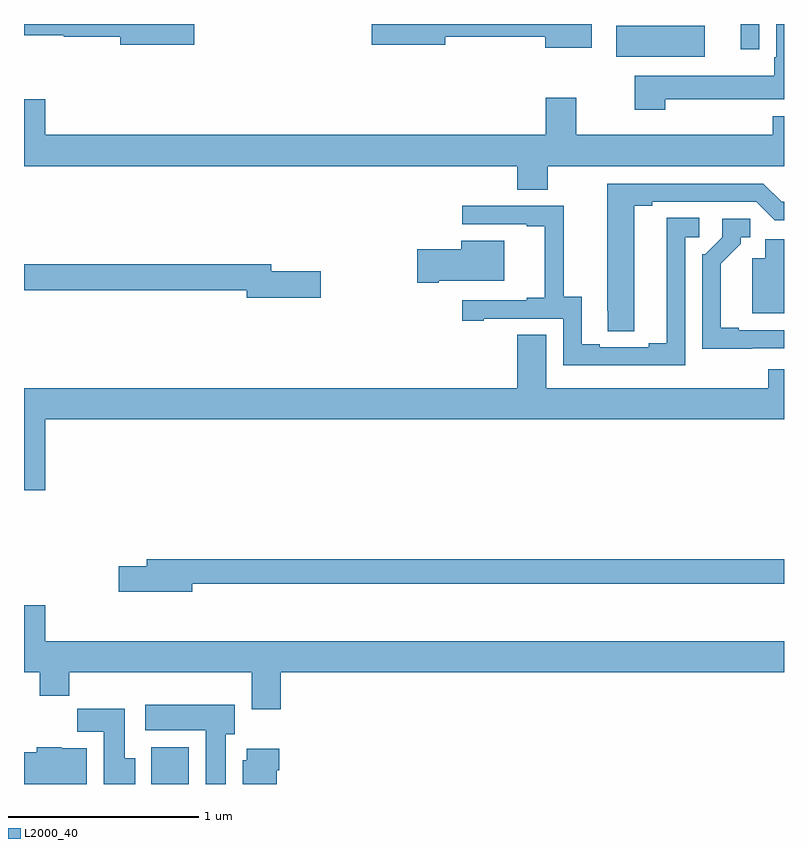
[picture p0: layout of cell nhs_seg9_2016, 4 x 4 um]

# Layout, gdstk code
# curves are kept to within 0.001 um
import gdstk
lib = gdstk.Library(unit=1e-6, precision=1e-09)
def R(c, l, rs):  # rectangles x0, y0, x1, y1
    for r in rs: c.add(gdstk.rectangle(r[:2], r[2:], *l))
def P(c, l, *ps):  # polygons
    for p in ps: c.add(gdstk.Polygon(p, *l))
L2000_40 = (2000, 40)

nhs_seg9_2016 = lib.new_cell('nhs_seg9_2016')
R(nhs_seg9_2016, L2000_40, [(225.671,1194.5,225.868,1194.694), (228.117,1198.328,228.583,1198.492), (228.773,1198.368,228.87,1198.5)])
P(nhs_seg9_2016, L2000_40, [(227.989,1198.5),(226.83,1198.5),(226.83,1198.39),(227.218,1198.39),(227.218,1198.432),(227.744,1198.432),(227.744,1198.376),(227.989,1198.376)],
  [(228.374,1198.103),(229,1198.103),(229,1198.5),(228.96,1198.5),(228.96,1198.324),(228.948,1198.324),(228.948,1198.228),(228.214,1198.228),(228.214,1198.05),(228.374,1198.05)],
  [(225.895,1198.5),(225,1198.5),(225,1198.44),(225.21,1198.44),(225.21,1198.432),(225.506,1198.432),(225.506,1198.39),(225.895,1198.39)],
  [(227.747,1197.916),(225.112,1197.916),(225.112,1198.105),(225,1198.105),(225,1197.752),(227.597,1197.752),(227.597,1197.628),(227.757,1197.628),(227.757,1197.752),(229,1197.752),(229,1198.015),(228.941,1198.015),(228.941,1197.916),(227.907,1197.916),(227.907,1198.111),(227.747,1198.111)],
  [(228.211,1197.544),(228.307,1197.544),(228.307,1197.564),(228.855,1197.564),(228.951,1197.468),(229,1197.468),(229,1197.564),(228.987,1197.564),(228.891,1197.66),(228.071,1197.66),(228.072,1196.884),(228.211,1196.884)],
  [(228.48,1197.378),(228.553,1197.378),(228.553,1197.479),(228.383,1197.479),(228.383,1196.819),(228.287,1196.819),(228.287,1196.799),(228.031,1196.799),(228.031,1196.814),(227.935,1196.814),(227.935,1197.065),(227.841,1197.065),(227.841,1197.543),(227.307,1197.543),(227.307,1197.447),(227.645,1197.447),(227.645,1197.435),(227.741,1197.435),(227.741,1197.058),(227.645,1197.058),(227.645,1197.045),(227.307,1197.045),(227.307,1196.937),(227.419,1196.937),(227.419,1196.949),(227.838,1196.949),(227.838,1196.703),(228.48,1196.703)],
  [(228.833,1196.793),(229,1196.793),(229,1196.889),(228.763,1196.889),(228.763,1196.902),(228.667,1196.902),(228.667,1197.238),(228.772,1197.343),(228.772,1197.378),(228.822,1197.378),(228.822,1197.474),(228.675,1197.474),(228.675,1197.378),(228.585,1197.288),(228.57,1197.288),(228.57,1196.792)],
  [(229,1197.366),(228.902,1197.366),(228.902,1197.268),(228.833,1197.268),(228.833,1196.978),(229,1196.978)],
  [(227.182,1197.149),(227.527,1197.149),(227.527,1197.358),(227.3,1197.358),(227.3,1197.315),(227.07,1197.315),(227.07,1197.137),(227.182,1197.137)],
  [(226.561,1197.2),(226.3,1197.2),(226.3,1197.236),(225,1197.236),(225,1197.1),(226.172,1197.1),(226.172,1197.058),(226.561,1197.058)],
  [(225.112,1196.42),(229,1196.42),(229,1196.682),(228.917,1196.682),(228.917,1196.584),(227.749,1196.584),(227.749,1196.864),(227.597,1196.864),(227.597,1196.584),(225,1196.584),(225,1196.046),(225.112,1196.046)],
  [(225.886,1195.554),(229,1195.554),(229,1195.682),(225.647,1195.682),(225.647,1195.646),(225.498,1195.646),(225.498,1195.511),(225.886,1195.511)],
  [(226.352,1195.088),(229,1195.088),(229,1195.252),(225.112,1195.252),(225.112,1195.441),(225,1195.441),(225,1195.088),(225.083,1195.088),(225.083,1194.964),(225.239,1194.964),(225.239,1195.088),(226.199,1195.088),(226.199,1194.894),(226.352,1194.894)],
  [(226.063,1194.762),(226.108,1194.762),(226.108,1194.916),(225.639,1194.916),(225.639,1194.782),(225.956,1194.782),(225.956,1194.5),(226.063,1194.5)],
  [(225.586,1194.636),(225.529,1194.636),(225.529,1194.895),(225.28,1194.895),(225.28,1194.776),(225.419,1194.776),(225.419,1194.5),(225.586,1194.5)],
  [(225.331,1194.688),(225.198,1194.688),(225.198,1194.694),(225.068,1194.694),(225.068,1194.666),(225,1194.666),(225,1194.5),(225.331,1194.5)],
  [(226.33,1194.572),(226.343,1194.572),(226.343,1194.685),(226.172,1194.685),(226.172,1194.624),(226.151,1194.624),(226.151,1194.5),(226.33,1194.5)])

lib.write_gds('nhs_seg9_2016.gds')
